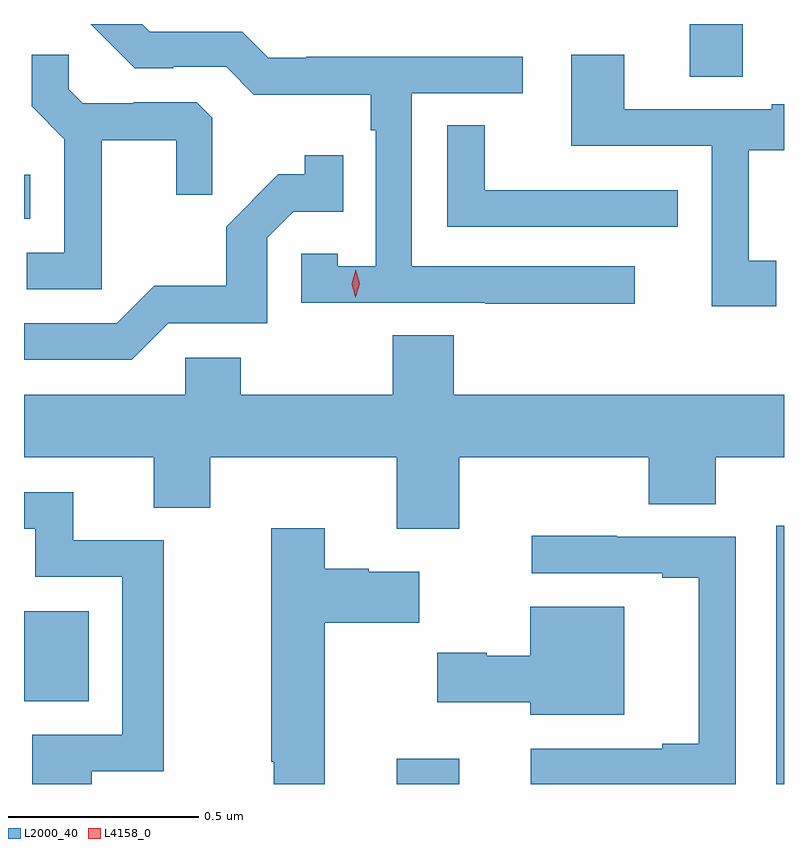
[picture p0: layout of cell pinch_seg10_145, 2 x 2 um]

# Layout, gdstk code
import gdstk
lib = gdstk.Library(unit=1e-6, precision=1e-09)
def R(c, l, rs):  # rectangles x0, y0, x1, y1
    for r in rs: c.add(gdstk.rectangle(r[:2], r[2:], *l))
def P(c, l, *ps):  # polygons
    for p in ps: c.add(gdstk.Polygon(p, *l))
L2000_40 = (2000, 40)
L4158_0 = (4158, 0)

pinch_seg10_145 = lib.new_cell('pinch_seg10_145')
R(pinch_seg10_145, L2000_40, [(692.48,1274.148,692.644,1274.215), (693.479,1274.148,693.499,1274.827), (691.499,1274.366,691.669,1274.602), (691.499,1275.635,691.516,1275.751), (693.251,1276.009,693.391,1276.148)])
P(pinch_seg10_145, L2000_40, [(693.106,1275.51),(692.52,1275.51),(692.52,1275.966),(692.812,1275.966),(692.812,1276.062),(692.242,1276.062),(692.242,1276.059),(692.142,1276.059),(692.073,1276.128),(691.83,1276.128),(691.81,1276.148),(691.675,1276.148),(691.791,1276.032),(691.892,1276.032),(691.892,1276.035),(692.031,1276.035),(692.104,1275.962),(692.412,1275.962),(692.412,1275.869),(692.424,1275.869),(692.424,1275.511),(692.325,1275.511),(692.325,1275.543),(692.229,1275.543),(692.229,1275.414),(692.713,1275.414),(692.713,1275.412),(693.106,1275.412)],
  [(693.478,1275.525),(693.406,1275.525),(693.406,1275.816),(693.499,1275.816),(693.499,1275.937),(693.467,1275.937),(693.467,1275.924),(693.079,1275.924),(693.079,1276.067),(692.939,1276.067),(692.939,1275.828),(693.309,1275.828),(693.309,1275.405),(693.478,1275.405)],
  [(691.703,1275.842),(691.9,1275.842),(691.9,1275.699),(691.994,1275.699),(691.994,1275.901),(691.953,1275.942),(691.788,1275.942),(691.788,1275.939),(691.654,1275.939),(691.617,1275.976),(691.617,1276.067),(691.519,1276.067),(691.519,1275.931),(691.605,1275.845),(691.605,1275.546),(691.506,1275.546),(691.506,1275.45),(691.703,1275.45)],
  [(693.22,1275.71),(693.107,1275.71),(693.107,1275.711),(692.712,1275.711),(692.712,1275.881),(692.613,1275.881),(692.613,1275.615),(693.22,1275.615)],
  [(691.878,1275.36),(692.139,1275.36),(692.139,1275.585),(692.208,1275.654),(692.339,1275.654),(692.339,1275.802),(692.238,1275.802),(692.238,1275.752),(692.168,1275.752),(692.031,1275.614),(692.031,1275.459),(691.842,1275.459),(691.743,1275.36),(691.499,1275.36),(691.499,1275.264),(691.782,1275.264)],
  [(692.644,1275.008),(693.143,1275.008),(693.143,1274.884),(693.32,1274.884),(693.32,1275.008),(693.499,1275.008),(693.499,1275.172),(692.63,1275.172),(692.63,1275.329),(692.47,1275.329),(692.47,1275.172),(692.07,1275.172),(692.07,1275.27),(691.923,1275.27),(691.923,1275.172),(691.499,1275.172),(691.499,1275.008),(691.841,1275.008),(691.841,1274.875),(691.989,1274.875),(691.989,1275.008),(692.48,1275.008),(692.48,1274.82),(692.644,1274.82)],
  [(691.677,1274.181),(691.867,1274.181),(691.867,1274.79),(691.628,1274.79),(691.628,1274.916),(691.499,1274.916),(691.499,1274.82),(691.529,1274.82),(691.529,1274.694),(691.758,1274.694),(691.758,1274.277),(691.521,1274.277),(691.521,1274.148),(691.677,1274.148)],
  [(692.29,1274.573),(692.539,1274.573),(692.539,1274.707),(692.406,1274.707),(692.406,1274.715),(692.29,1274.715),(692.29,1274.821),(692.149,1274.821),(692.149,1274.207),(692.156,1274.207),(692.156,1274.148),(692.29,1274.148)],
  [(693.372,1274.799),(693.059,1274.799),(693.059,1274.801),(692.835,1274.801),(692.835,1274.703),(693.179,1274.703),(693.179,1274.691),(693.275,1274.691),(693.275,1274.254),(693.179,1274.254),(693.179,1274.241),(692.832,1274.241),(692.832,1274.148),(693.372,1274.148)],
  [(693.079,1274.614),(692.831,1274.614),(692.831,1274.485),(692.717,1274.485),(692.717,1274.493),(692.586,1274.493),(692.586,1274.363),(692.831,1274.363),(692.831,1274.33),(693.079,1274.33)])
P(pinch_seg10_145, L4158_0, [(692.371,1275.429),(692.371,1275.43),(692.362,1275.465),(692.372,1275.501),(692.372,1275.501),(692.372,1275.501),(692.382,1275.465),(692.372,1275.43)])

lib.write_gds('pinch_seg10_145.gds')
